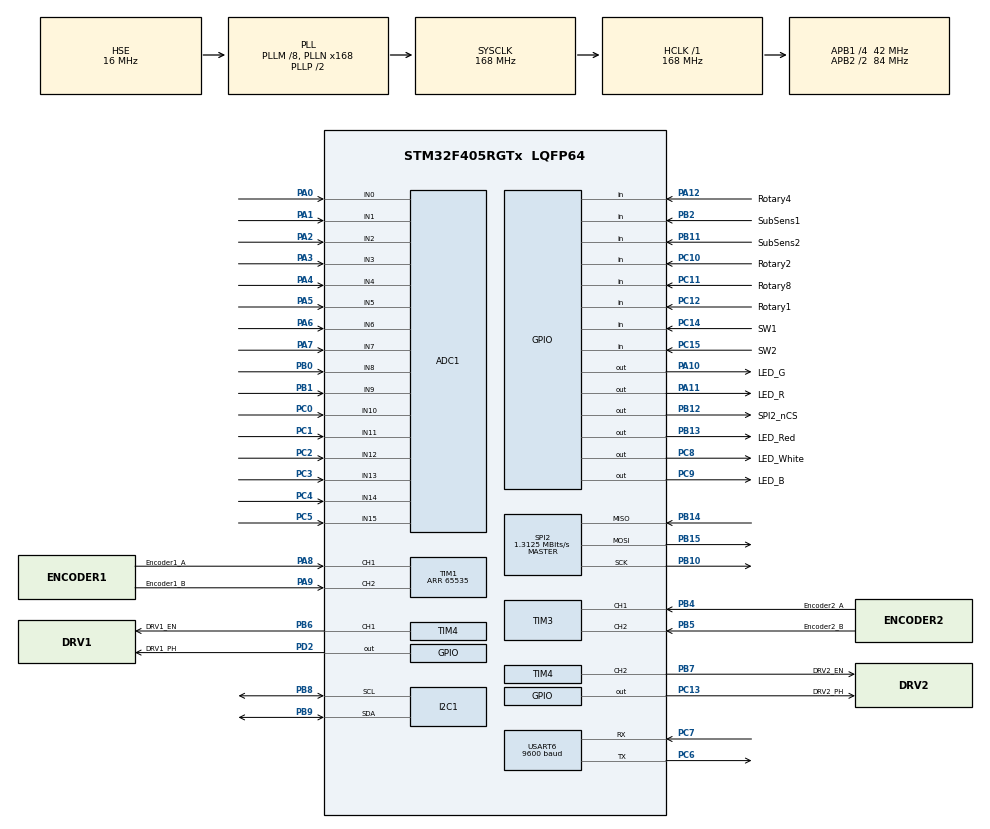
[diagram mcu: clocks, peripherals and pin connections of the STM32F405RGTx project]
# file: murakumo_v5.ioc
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ADC1.Channel-0\#ChannelRegularConversion=ADC_CHANNEL_9
ADC1.Channel-1\#ChannelRegularConversion=ADC_CHANNEL_10
ADC1.Channel-10\#ChannelRegularConversion=ADC_CHANNEL_6
ADC1.Channel-11\#ChannelRegularConversion=ADC_CHANNEL_1
ADC1.Channel-12\#ChannelRegularConversion=ADC_CHANNEL_5
ADC1.Channel-13\#ChannelRegularConversion=ADC_CHANNEL_2
ADC1.Channel-14\#ChannelRegularConversion=ADC_CHANNEL_4
ADC1.Channel-15\#ChannelRegularConversion=ADC_CHANNEL_3
ADC1.Channel-2\#ChannelRegularConversion=ADC_CHANNEL_8
ADC1.Channel-3\#ChannelRegularConversion=ADC_CHANNEL_11
ADC1.Channel-4\#ChannelRegularConversion=ADC_CHANNEL_15
ADC1.Channel-5\#ChannelRegularConversion=ADC_CHANNEL_12
ADC1.Channel-6\#ChannelRegularConversion=ADC_CHANNEL_14
ADC1.Channel-7\#ChannelRegularConversion=ADC_CHANNEL_13
ADC1.Channel-8\#ChannelRegularConversion=ADC_CHANNEL_7
ADC1.Channel-9\#ChannelRegularConversion=ADC_CHANNEL_0
ADC1.ContinuousConvMode=ENABLE
ADC1.DMAContinuousRequests=ENABLE
ADC1.InjNumberOfConversion=0
ADC1.NbrOfConversion=16
ADC1.NbrOfConversionFlag=1
ADC1.Rank-0\#ChannelRegularConversion=1
ADC1.Rank-1\#ChannelRegularConversion=2
ADC1.Rank-10\#ChannelRegularConversion=11
ADC1.Rank-11\#ChannelRegularConversion=12
ADC1.Rank-12\#ChannelRegularConversion=13
ADC1.Rank-13\#ChannelRegularConversion=14
ADC1.Rank-14\#ChannelRegularConversion=15
ADC1.Rank-15\#ChannelRegularConversion=16
ADC1.Rank-2\#ChannelRegularConversion=3
ADC1.Rank-3\#ChannelRegularConversion=4
ADC1.Rank-4\#ChannelRegularConversion=5
ADC1.Rank-5\#ChannelRegularConversion=6
ADC1.Rank-6\#ChannelRegularConversion=7
ADC1.Rank-7\#ChannelRegularConversion=8
ADC1.Rank-8\#ChannelRegularConversion=9
ADC1.Rank-9\#ChannelRegularConversion=10
ADC1.SamplingTime-0\#ChannelRegularConversion=ADC_SAMPLETIME_56CYCLES
ADC1.SamplingTime-1\#ChannelRegularConversion=ADC_SAMPLETIME_56CYCLES
ADC1.SamplingTime-10\#ChannelRegularConversion=ADC_SAMPLETIME_56CYCLES
ADC1.SamplingTime-11\#ChannelRegularConversion=ADC_SAMPLETIME_56CYCLES
ADC1.SamplingTime-12\#ChannelRegularConversion=ADC_SAMPLETIME_56CYCLES
ADC1.SamplingTime-13\#ChannelRegularConversion=ADC_SAMPLETIME_56CYCLES
ADC1.SamplingTime-14\#ChannelRegularConversion=ADC_SAMPLETIME_56CYCLES
ADC1.SamplingTime-15\#ChannelRegularConversion=ADC_SAMPLETIME_56CYCLES
ADC1.SamplingTime-2\#ChannelRegularConversion=ADC_SAMPLETIME_56CYCLES
ADC1.SamplingTime-3\#ChannelRegularConversion=ADC_SAMPLETIME_56CYCLES
ADC1.SamplingTime-4\#ChannelRegularConversion=ADC_SAMPLETIME_56CYCLES
ADC1.SamplingTime-5\#ChannelRegularConversion=ADC_SAMPLETIME_56CYCLES
ADC1.SamplingTime-6\#ChannelRegularConversion=ADC_SAMPLETIME_56CYCLES
ADC1.SamplingTime-7\#ChannelRegularConversion=ADC_SAMPLETIME_56CYCLES
ADC1.SamplingTime-8\#ChannelRegularConversion=ADC_SAMPLETIME_56CYCLES
ADC1.SamplingTime-9\#ChannelRegularConversion=ADC_SAMPLETIME_56CYCLES
ADC1.ScanConvMode=ENABLE
ADC1.master=1
Dma.ADC1.0.Direction=DMA_PERIPH_TO_MEMORY
Dma.ADC1.0.FIFOMode=DMA_FIFOMODE_DISABLE
Dma.ADC1.0.Instance=DMA2_Stream0
Dma.ADC1.0.MemDataAlignment=DMA_MDATAALIGN_HALFWORD
Dma.ADC1.0.MemInc=DMA_MINC_ENABLE
Dma.ADC1.0.Mode=DMA_CIRCULAR
Dma.ADC1.0.PeriphDataAlignment=DMA_PDATAALIGN_HALFWORD
Dma.ADC1.0.PeriphInc=DMA_PINC_DISABLE
Dma.ADC1.0.Priority=DMA_PRIORITY_LOW
Dma.Request0=ADC1
I2C1.NoStretchMode=I2C_NOSTRETCH_ENABLE
Mcu.Family=STM32F4
Mcu.Name=STM32F405RGTx
Mcu.Package=LQFP64
NVIC.DMA2_Stream0_IRQn=true\:0\:0\:true\:false\:true\:false\:true
NVIC.PriorityGroup=NVIC_PRIORITYGROUP_4
NVIC.TIM1_TRG_COM_TIM11_IRQn=true\:0\:0\:true\:false\:true\:true\:true
NVIC.TIM1_UP_TIM10_IRQn=true\:0\:0\:true\:false\:true\:true\:true
NVIC.TIM6_DAC_IRQn=true\:0\:0\:true\:false\:true\:true\:true
PA0-WKUP.Signal=ADCx_IN0
PA1.Signal=ADCx_IN1
PA10.GPIO_Label=LED_G
PA10.Signal=GPIO_Output
PA11.GPIO_Label=LED_R
PA11.Signal=GPIO_Output
PA12.GPIO_Label=Rotary4
PA12.Signal=GPIO_Input
PA13.Mode=Trace_Asynchronous_SW
PA13.Signal=SYS_JTMS-SWDIO
PA14.Mode=Trace_Asynchronous_SW
PA14.Signal=SYS_JTCK-SWCLK
PA15.Signal=S_TIM2_CH1_ETR
PA2.Signal=ADCx_IN2
PA3.Signal=ADCx_IN3
PA4.Signal=ADCx_IN4
PA5.Signal=ADCx_IN5
PA6.Signal=ADCx_IN6
PA7.Signal=ADCx_IN7
PA8.GPIO_Label=Encoder1_A
PA8.Signal=S_TIM1_CH1
PA9.GPIO_Label=Encoder1_B
PA9.Signal=S_TIM1_CH2
PB0.Signal=ADCx_IN8
PB1.Signal=ADCx_IN9
PB10.Mode=Full_Duplex_Master
PB10.Signal=SPI2_SCK
PB11.GPIO_Label=SubSens2
PB11.Signal=GPIO_Input
PB12.GPIO_Label=SPI2_nCS
PB12.Signal=GPIO_Output
PB13.GPIO_Label=LED_Red
PB13.Signal=GPIO_Output
PB14.Mode=Full_Duplex_Master
PB14.Signal=SPI2_MISO
PB15.Mode=Full_Duplex_Master
PB15.Signal=SPI2_MOSI
PB2.GPIO_Label=SubSens1
PB2.Signal=GPIO_Input
PB3.Mode=Trace_Asynchronous_SW
PB3.Signal=SYS_JTDO-SWO
PB4.GPIO_Label=Encoder2_A
PB4.Signal=S_TIM3_CH1
PB5.GPIO_Label=Encoder2_B
PB5.Signal=S_TIM3_CH2
PB6.GPIO_Label=DRV1_EN
PB6.Signal=S_TIM4_CH1
PB7.GPIO_Label=DRV2_EN
PB7.Signal=S_TIM4_CH2
PB8.Mode=I2C
PB8.Signal=I2C1_SCL
PB9.Mode=I2C
PB9.Signal=I2C1_SDA
PC0.Signal=ADCx_IN10
PC1.Signal=ADCx_IN11
PC10.GPIO_Label=Rotary2
PC10.Signal=GPIO_Input
PC11.GPIO_Label=Rotary8
PC11.Signal=GPIO_Input
PC12.GPIO_Label=Rotary1
PC12.Signal=GPIO_Input
PC13-ANTI_TAMP.GPIO_Label=DRV2_PH
PC13-ANTI_TAMP.Signal=GPIO_Output
PC14-OSC32_IN.GPIO_Label=SW1
PC14-OSC32_IN.Signal=GPIO_Input
PC15-OSC32_OUT.GPIO_Label=SW2
PC15-OSC32_OUT.Signal=GPIO_Input
PC2.Signal=ADCx_IN12
PC3.Signal=ADCx_IN13
PC4.Signal=ADCx_IN14
PC5.Signal=ADCx_IN15
PC6.Mode=Asynchronous
PC6.Signal=USART6_TX
PC7.Mode=Asynchronous
PC7.Signal=USART6_RX
PC8.GPIO_Label=LED_White
PC8.Signal=GPIO_Output
PC9.GPIO_Label=LED_B
PC9.Signal=GPIO_Output
PD2.GPIO_Label=DRV1_PH
PD2.Signal=GPIO_Output
PH0-OSC_IN.Mode=HSE-External-Clock-Source
PH0-OSC_IN.Signal=RCC_OSC_IN
PH1-OSC_OUT.Mode=HSE-External-Clock-Source
PH1-OSC_OUT.Signal=RCC_OSC_OUT
ProjectManager.HeapSize=0x200
ProjectManager.StackSize=0x400
ProjectManager.TargetToolchain=STM32CubeIDE
RCC.48MHZClocksFreq_Value=84000000
RCC.AHBFreq_Value=168000000
RCC.APB1CLKDivider=RCC_HCLK_DIV4
RCC.APB1Freq_Value=42000000
RCC.APB1TimFreq_Value=84000000
RCC.APB2CLKDivider=RCC_HCLK_DIV2
RCC.APB2Freq_Value=84000000
RCC.APB2TimFreq_Value=168000000
RCC.CortexFreq_Value=168000000
RCC.HCLKFreq_Value=168000000
RCC.HSE_VALUE=16000000
RCC.HSI_VALUE=16000000
RCC.LSE_VALUE=32768
RCC.PLLM=8
RCC.PLLN=168
RCC.PLLSourceVirtual=RCC_PLLSOURCE_HSE
RCC.SYSCLKFreq_VALUE=168000000
RCC.SYSCLKSource=RCC_SYSCLKSOURCE_PLLCLK
RCC.VCOOutputFreq_Value=336000000
SH.ADCx_IN0.0=ADC1_IN0,IN0
SH.ADCx_IN1.0=ADC1_IN1,IN1
SH.ADCx_IN10.0=ADC1_IN10,IN10
SH.ADCx_IN11.0=ADC1_IN11,IN11
SH.ADCx_IN12.0=ADC1_IN12,IN12
SH.ADCx_IN13.0=ADC1_IN13,IN13
SH.ADCx_IN14.0=ADC1_IN14,IN14
SH.ADCx_IN15.0=ADC1_IN15,IN15
SH.ADCx_IN2.0=ADC1_IN2,IN2
SH.ADCx_IN3.0=ADC1_IN3,IN3
SH.ADCx_IN4.0=ADC1_IN4,IN4
SH.ADCx_IN5.0=ADC1_IN5,IN5
SH.ADCx_IN6.0=ADC1_IN6,IN6
SH.ADCx_IN7.0=ADC1_IN7,IN7
SH.ADCx_IN8.0=ADC1_IN8,IN8
SH.ADCx_IN9.0=ADC1_IN9,IN9
SH.S_TIM1_CH1.0=TIM1_CH1,Encoder_Interface
SH.S_TIM1_CH2.0=TIM1_CH2,Encoder_Interface
SH.S_TIM2_CH1_ETR.0=TIM2_CH1
SH.S_TIM3_CH1.0=TIM3_CH1,Encoder_Interface
SH.S_TIM3_CH2.0=TIM3_CH2,Encoder_Interface
SH.S_TIM4_CH1.0=TIM4_CH1,PWM Generation1 CH1
SH.S_TIM4_CH2.0=TIM4_CH2,PWM Generation2 CH2
SPI2.BaudRatePrescaler=SPI_BAUDRATEPRESCALER_32
SPI2.CLKPhase=SPI_PHASE_2EDGE
SPI2.CLKPolarity=SPI_POLARITY_HIGH
SPI2.CalculateBaudRate=1.3125 MBits/s
SPI2.DataSize=SPI_DATASIZE_8BIT
SPI2.Direction=SPI_DIRECTION_2LINES
SPI2.Mode=SPI_MODE_MASTER
SPI2.VirtualType=VM_MASTER
TIM1.EncoderMode=TIM_ENCODERMODE_TI12
TIM1.Period=65535
TIM10.Period=33599
TIM10.Prescaler=4
TIM11.Period=33599
TIM11.Prescaler=4
TIM3.EncoderMode=TIM_ENCODERMODE_TI12
TIM4.Channel-PWM\ Generation1\ CH1=TIM_CHANNEL_1
TIM4.Channel-PWM\ Generation2\ CH2=TIM_CHANNEL_2
TIM4.Period=999
TIM4.Prescaler=2
TIM6.Period=16799
TIM6.Prescaler=4
USART6.BaudRate=9600
USART6.VirtualMode=VM_ASYNC
VP_TIM10_VS_ClockSourceINT.Mode=Enable_Timer
VP_TIM11_VS_ClockSourceINT.Mode=Enable_Timer
VP_TIM6_VS_ClockSourceINT.Mode=Enable_Timer
board=custom

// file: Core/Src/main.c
/* USER CODE BEGIN Header */
/**
 ******************************************************************************
 * @file           : main.c
 * @brief          : Main program body
 ******************************************************************************
 * @attention
 *
 * <h2><center>&copy; Copyright (c) 2022 STMicroelectronics.
 * All rights reserved.</center></h2>
 *
 * This software component is licensed by ST under BSD 3-Clause license,
 * the "License"; You may not use this file except in compliance with the
 * License. You may obtain a copy of the License at:
 *                        opensource.org/licenses/BSD-3-Clause
 *
 *
 * MURAKUMO SPECIAL EN KAI GEI !!!!!
 *
 ******************************************************************************
 */
/* USER CODE END Header */
#include "main.h"

/* USER CODE BEGIN Includes */
#include "stdio.h"
#include <string.h>
#include <stdint.h>
// #include "math.h"
#include "ICM20648.h"

/* USER CODE END Includes */

/* USER CODE BEGIN PD */
#ifdef __GNUC__
#define PUTCHAR_PROTOTYPE int __io_putchar(int ch)
#else
#define PUTCHAR_PROTOTYPE int fputc(int ch, FILE *f)
#endif

#define PLAY 1

#define D_ANALOG 0
#define D_ANALOGRATE 0
#define D_MOTOR 0
#define D_SIDESENS 0	//
#define D_ENCODER 0	// Debug Encoder
#define D_PWM 0
#define D_ROTARY 0
#define D_SWITCH 0
#define D_IMU 1
#define D_LED 0
#define D_VELOCITY_CONTROL_TIMER 0

#define USE_ANALOG 0
#define USE_MOTOR 0
#define USE_SIDESENSOR 0	// Use SideSensor
#define USE_ENCODER 0
#define USE_ROTARY 1
#define USE_SWITCH 1
#define USE_LED 1
#define USE_FLASH 0
#define USE_IMU 1
#define USE_BUZZER 0
#define USE_VELOCITY_CONTROL 0

#define ATTACH_LONGSENSOR 0	// use normal sensor and long sensor
#define USE_LONGSENSOR 0	// only use long sensor

#define SECOND 1

/* USER CODE END PD */

/* USER CODE BEGIN PM */
#if USE_FLASH
#define BACKUP_FLASH_SECTOR_NUM FLASH_SECTOR_11
#define BACKUP_FLASH_SECTOR_SIZE (1024*16)
#define ENC_SIZE 128
#endif

#define ADC_CONVERTED_DATA_BUFFER_SIZE 16	// ADC Channel Count
#define SENSGETCOUNT 9

#define ENCODER_MIDDLE (65536/2)

#ifndef _ARM_MATH_H
#define PI 3.14159265358979f
#endif	// __MAIN_H
#define TIREDIAMETER 21000		// um
#define PULSEPERROTATE (5250*2)	// Pulse / Rotate
// LENGTHPUEPULSE = PI * TIREDIAMETER / PULSEPERROTATE

#define COMMONSPEED1 0	// 700 // 570
#define KP1 6.4f	// 30 // 25
#define KD1 13.75f	// 8  // 10
#define KI1 0	// 0.0005f
#define COMMONSPEED2 100	// 700 // 570
#define KP2 5	// 30 // 25
#define KD2 2	// 8  // 10
#define KI2 0
#define COMMONSPEED3 100	// 700 // 570
#define KP3 3	// 30 // 25
#define KD3 1	// 8  // 10
#define KI3 0

#define PWMMAX 1000 // 3360

#if D_PWM
#define STATICPWM 1
#endif

#define D_VELOCITY_CONTROL_IN_WHILE 0
#define VELOCITY_CONTROL_RELATIVE 1

#if USE_VELOCITY_CONTROL
#define VELOCITY_TARGET 750	//65.973f 	// MAX 35579 // mm/s
#define VELOCITY_MAX 35579
#if VELOCITY_CONTROL_RELATIVE
#define VKP 20	// 27.5f
#define VKI 0.2f	// 0.15f
#else	// VELOCITY_CONTRO_RELATIVE
// left
#define VKPL 8.0f
#define VKIL 0.025	// 0.025f
// right
#define VKPR 8.0f
#define VKIR 0.025	// 0.025f
#endif	// VELOCITY_CONTROL_RELATIVE
#if D_VELOCITY_CONTROL_TIMER
#define STOPTIME 10000 // 13188
#endif
#endif

#define ESC_MAG	"\x1b[35m"
#define ESC_RED "\x1b[31m"
#define ESC_YEL	"\x1b[33m"
#define ESC_GRE	"\x1b[32m"
#define ESC_CYA	"\x1b[36m"
#define ESC_BLU	"\x1b[34m"
#define ESC_DEF "\x1b[39m"

/* USER CODE END PM */

ADC_HandleTypeDef hadc1;
DMA_HandleTypeDef hdma_adc1;

I2C_HandleTypeDef hi2c1;

SPI_HandleTypeDef hspi2;

TIM_HandleTypeDef htim1;
TIM_HandleTypeDef htim3;
TIM_HandleTypeDef htim4;
TIM_HandleTypeDef htim6;
TIM_HandleTypeDef htim10;
TIM_HandleTypeDef htim11;

UART_HandleTypeDef huart6;

/* USER CODE BEGIN PV */
#if USE_FLASH
typedef struct {
	uint8_t svl[ENC_SIZE];
	uint8_t svr[ENC_SIZE];
	uint32_t common_speed2[ENC_SIZE];
	uint32_t common_speed3[ENC_SIZE];
//	uint16_t second[ENC_SIZE];
	Inertial inertial[ENC_SIZE];
	uint16_t analogmin[CALIBRATIONSIZE];
	uint16_t analogmin[CALIBRATIONSIZE];
} FlashBuffer;
#endif

// analog
uint16_t analograw[ADC_CONVERTED_DATA_BUFFER_SIZE];	// Analog Data

#if ATTACH_LONGSENSOR	// use normal sensor and long sensor
#define CALIBRATIONSIZE 16
#else
#if USE_LONGSENSOR	// only use long sensor
#define CALIBRATIONSIZE 4
#else
#define CALIBRATIONSIZE 12
#endif
#endif

uint16_t analog[CALIBRATIONSIZE];
uint16_t analogmax[CALIBRATIONSIZE];
uint16_t analogmin[CALIBRATIONSIZE];
uint16_t analogbuffers[SENSGETCOUNT][CALIBRATIONSIZE];

uint16_t analograte[CALIBRATIONSIZE];
uint16_t analogr, analogl;	// Sum Right Analog Sensor, Sum Left Analog Sensor
int direction, beforedirection, sdirection;	// = analogr - analogl
unsigned char sensgettime;
uint8_t calibrationsize;

double kp, kd, ki;

unsigned char subsensbuf, marker, sidedeltacount, markerstate, rightmarkercount;// 0 ~ 255(2^8-1)
short int encoder_l, encoder_r;
double LENGTHPERPULSE;	// (um / pulse)

#if SECOND
// uint8_t velocity[COURSELENGTH * 1000];
#endif

#if USE_FLASH
const uint32_t start_address = 0x080E0000;
const uint32_t end_address = 0x080FFFFF;
FlashBuffer flash_buffer;
uint8_t course_state_time;
#endif

#if D_PWM
#define PWM_STEP_AMPLITUDE 1000		// (288 + 1024 * 3) // PWM Pulse Amplitude
#define PWM_STEP_OMEGA 100	// PWM Step Omega (unit mrad / s)
uint32_t pwmstepoutput;	// PWM Duty
uint32_t pwmsteptime;	// PWM Step Time
char pwmstepud;	// PWM Step upword or downword
#endif

#if D_ENCODER
uint16_t d_encoder_left, dd_encoder_left, pre_d_encoder_left, d_encoder_right,
		dd_encoder_right, pre_d_encoder_right;
uint16_t enc1, enc2, enc3;
#endif

#if USE_VELOCITY_CONTROL
double velocity_l, velocity_l_raw;
double velocity_r, velocity_r_raw;
#if VELOCITY_CONTROL_RELATIVE
double velocity, velocity_error, s_velocity_error, velocity_next, velocity_raw;
double nextspeed;
#else	// VELOCITY_CONTROL_RELATIVE
		double velocity_error_l, s_velocity_error_l, velocity_next_l, nextspeed_l;
		double velocity_error_r, s_velocity_error_r, velocity_next_r, nextspeed_r;
	#endif	// VELOCITY_CONTROL_RELATIVE
#if D_VELOCITY_CONTROL_TIMER
		uint16_t stoptime;
	#endif
#endif

// motor
short int commonspeed;
double leftmotor;
double rightmotor;

// switch
uint8_t rotary_value;
char enter;
uint16_t timtim;

// flag
uint8_t motorenable;

/* USER CODE END PV */

void SystemClock_Config(void);
static void MX_GPIO_Init(void);
static void MX_DMA_Init(void);
static void MX_ADC1_Init(void);
static void MX_USART6_UART_Init(void);
static void MX_TIM6_Init(void);
static void MX_TIM4_Init(void);
static void MX_TIM1_Init(void);
static void MX_TIM3_Init(void);
static void MX_TIM10_Init(void);
static void MX_TIM11_Init(void);
static void MX_SPI2_Init(void);
static void MX_I2C1_Init(void);
/* USER CODE BEGIN PFP */

PUTCHAR_PROTOTYPE;
#if USE_LED
void led_rgb(char r, char g, char b);
void set_led(char);
#endif
void running_initialize();
void running_finalize();
void sensor_initialize();
void sensor_finalize();
void HAL_ADC_ConvCpltCallback(ADC_HandleTypeDef *AdcHandle);
#ifndef _ARM_MATH_H
double power(double, double);
#endif
#if USE_ENCODER
void encoder_initialize();
void encoder_finalize();
#endif
#if USE_FLASH
void eraseFlash(void);
void writeFlash(uint32_t, uint8_t*, uint32_t);
void loadFlash(uint32_t, uint8_t*, uint32_t);
#endif
void d_print();
#if USE_IMU
void IMU_printf(Inertial*);
void IMU_raw_printf();
#endif
double low_pass_filter(double val, double pre_val, double gamma);

void HAL_TIM_PeriodElapsedCallback(TIM_HandleTypeDef *htim) {
	if (htim->Instance == TIM6) {
#if D_VELOCITY_CONTROL_TIMER && USE_VELOCITY_CONTROL
		if(stoptime < STOPTIME)
		{
			stoptime++;
		}
		else
		{
			motorenable = 0;
		}
#endif // D_VELOCITY_CONTROL_TIMER && USE_VELOCITY_CONTROL

		if (motorenable)
		{
		} else	// if(motorenable)
		{
			leftmotor = 0;
			rightmotor = 0;
		}
#if USE_MOTOR

		if (leftmotor < 0) {
			HAL_GPIO_WritePin(GPIOD, GPIO_PIN_2, GPIO_PIN_RESET);
			leftmotor = leftmotor * -1;
		} else {
			HAL_GPIO_WritePin(GPIOD, GPIO_PIN_2, GPIO_PIN_SET);
		}

		if (rightmotor < 0) {
			HAL_GPIO_WritePin(GPIOC, GPIO_PIN_13, GPIO_PIN_SET);
			rightmotor = rightmotor * -1;
		} else {
			HAL_GPIO_WritePin(GPIOC, GPIO_PIN_13, GPIO_PIN_RESET);
		}

		leftmotor = leftmotor > PWMMAX ? PWMMAX : leftmotor;
		rightmotor = rightmotor > PWMMAX ? PWMMAX : rightmotor;
#endif
	}	// TIM6
	if (htim->Instance == TIM10)	// TIM10 // 1ms
	{
#if USE_IMU
#endif
#if USE_ENCODER
		// 1ms
		encoder_l = TIM1->CNT - ENCODER_MIDDLE;
		encoder_r = -(TIM3->CNT - ENCODER_MIDDLE);

		TIM1->CNT = ENCODER_MIDDLE;
		TIM3->CNT = ENCODER_MIDDLE;
#endif	// USE_ENCODER
#if USE_LED
		if(timtim % 1000 == 0)
		{
			set_led(0b10);
		}
		if(timtim % 1000 == 500)
		{
			set_led(0b00);
		}
		timtim = timtim + 1;
		if(timtim >= 60000)
		{
			timtim = 0;
		}
#endif
	}	// TIM10

	if (htim->Instance == TIM11)	// TIM11 // 1ms
	{
		uint8_t rotary_value_row;
		rotary_value_row = (!HAL_GPIO_ReadPin(GPIOC, GPIO_PIN_12)) ? 1 : 0;
		rotary_value_row += (!HAL_GPIO_ReadPin(GPIOC, GPIO_PIN_10)) ? 2 : 0;
		rotary_value_row += (!HAL_GPIO_ReadPin(GPIOA, GPIO_PIN_12)) ? 4 : 0;
		rotary_value_row += (!HAL_GPIO_ReadPin(GPIOC, GPIO_PIN_11)) ? 8 : 0;
		rotary_value = rotary_value_row;

#if USE_BUZZER
		__HAL_TIM_SET_COMPARE(&htim2, TIM_CHANNEL_1, 1406 * rotary_value_row / 16);
#endif

		if (!HAL_GPIO_ReadPin(GPIOC, GPIO_PIN_14)
				&& HAL_GPIO_ReadPin(GPIOC, GPIO_PIN_15)) {
			enter = 1;
		}
		if (HAL_GPIO_ReadPin(GPIOC, GPIO_PIN_14)
				&& !HAL_GPIO_ReadPin(GPIOC, GPIO_PIN_15)) {
			enter = 0;
		}
	}

	/*
	 if (htim->Instance == TIM13)	// TIM13 // 1ms
	 {
	 }

	 if (htim->Instance == TIM7)	// F // 0.1ms
	 {
	 }
	 */
}

/* USER CODE END PFP */

int main(void)
{

  /* MCU Configuration--------------------------------------------------------*/

  /* Reset of all peripherals, Initializes the Flash interface and the Systick. */
  HAL_Init();

  /* USER CODE BEGIN Init */
#if USE_FLASH
	FlashBuffer readrom;
#endif

	enter = 0;
	motorenable = 0;
	rotary_value = 0;
	LENGTHPERPULSE = PI * TIREDIAMETER / PULSEPERROTATE;
	commonspeed = 0;
#if D_PWM
	pwmsteptime = 0;
	pwmstepud = 1;
#endif

	for (unsigned char i = 0; CALIBRATIONSIZE > i; i++) {
		analogmax[i] = 0;
		analogmin[i] = 4096;
	}

  /* USER CODE END Init */

  /* Configure the system clock */
  SystemClock_Config();

  /* Initialize all configured peripherals */
  MX_GPIO_Init();
  MX_DMA_Init();
  MX_ADC1_Init();
  MX_USART6_UART_Init();
  MX_TIM6_Init();
  MX_TIM4_Init();
  MX_TIM1_Init();
  MX_TIM3_Init();
  MX_TIM10_Init();
  MX_TIM11_Init();
  MX_SPI2_Init();
  MX_I2C1_Init();
  /* USER CODE BEGIN 2 */
	printf(ESC_DEF);
	printf("\r\n\r\n\r\nStarting Program...\r\n\r\n");

	printf("Starting Analog Read\r\n");
	if (HAL_ADC_Init(&hadc1) != HAL_OK) {
		Error_Handler();
	}

	printf("Starting TIM11\r\n");
	HAL_TIM_Base_Start_IT(&htim11);	// 1ms	// ROTARY SWITCH

#if USE_BUZZER
	printf("Starting TIM2 (Buzzer)\r\n");
	if(HAL_TIM_PWM_Start(&htim2, TIM_CHANNEL_1) != HAL_OK)
	{
		Error_Handler();
	}
#endif

#if USE_IMU
	printf("Starting SPI2 (IMU)\r\n");
	uint8_t wai, ret;
	ret = IMU_init(&wai);
	printf("who_am_i = %d\r\n", wai);
	if (ret == 1) {
		printf("SPI INIT COLLECT!\r\n");
	} else {
		printf("SPI INIT FAILURE x_x \r\n");
	}
#if D_IMU
	printf("inertial offset\r\n");
	printf("ax = %4d, ay = %4d, az = %4d\r\n", inertial_offset.accel.x,
			inertial_offset.accel.y, inertial_offset.accel.z);
	printf("gx = %4d, gy = %4d, gz = %4d\r\n", inertial_offset.gyro.x,
			inertial_offset.gyro.y, inertial_offset.gyro.z);
#endif
#endif

#if D_ENCODER
	printf("LENGTHPERPULSE = %f\r\n", LENGTHPERPULSE);
#endif

  /* USER CODE END 2 */

  /* Infinite loop */
  /* USER CODE BEGIN WHILE */
	while (1) {
		printf("///// WHILE /////\n\r");
		printf("enter = %d\r\n", enter);
		printf("rotary_value = %x\r\n", rotary_value);
		if (enter) {
			switch (rotary_value) {
			case 0x0:
				break;	// case 0x00:
			case 0x1:
				running_initialize();

				while (enter) {
					d_print();
					HAL_Delay(250);
				}

				running_finalize();
				break;
			case 0x2:
				running_initialize();

				while (enter) {
					d_print();
					HAL_Delay(250);
				}

				running_finalize();
				break;
			case 0x3:
				running_initialize();

				while (enter) {
					d_print();
					HAL_Delay(250);
				}

				running_finalize();
				break;
			case 0xE:
				break;
			case 0xF:
				while (enter) {
					HAL_Delay(250);
				}
				break;
			case 0xD:
#if USE_IMU
#if D_IMU
				/*
				 // IMU TEST
				 IMU_set_offset();
				 printf("inertial offset\r\n");
				 printf("ax = %4d, ay = %4d, az = %4d\r\n", inertial_offset.accel.x, inertial_offset.accel.y, inertial_offset.accel.z);
				 printf("gx = %4d, gy = %4d, gz = %4d\r\n", inertial_offset.gyro.x, inertial_offset.gyro.y, inertial_offset.gyro.z);
				 while(enter)
				 {
				 printf("////////// IMU ///////////\r\n");
				 IMU_read();
				 printf("ax = %4d, ay = %4d, az = %4d\r\n", inertial.accel.x - inertial_offset.accel.x, inertial.accel.y - inertial_offset.accel.y, inertial.accel.z - inertial_offset.accel.z);
				 printf("gx = %4d, gy = %4d, gz = %4d\r\n", inertial.gyro.x - inertial_offset.gyro.x, inertial.gyro.y - inertial_offset.gyro.y, inertial.gyro.z - inertial_offset.gyro.z);
				 HAL_Delay(250);
				 }
				 */
				while (enter) {
					printf("////////// IMU ///////////\r\n");
					IMU_read();
					IMU_raw_printf();
					HAL_Delay(250);
				}
#endif // D_IMU
#endif
				break;
			} // switch(rotary_value)
		}	// if(enter)
	}	// while(1)
	HAL_Delay(250);
    /* USER CODE END WHILE */

}

void SystemClock_Config(void)
{
  RCC_OscInitTypeDef RCC_OscInitStruct = {0};
  RCC_ClkInitTypeDef RCC_ClkInitStruct = {0};

  /** Configure the main internal regulator output voltage
  */
  __HAL_RCC_PWR_CLK_ENABLE();
  __HAL_PWR_VOLTAGESCALING_CONFIG(PWR_REGULATOR_VOLTAGE_SCALE1);
  /** Initializes the RCC Oscillators according to the specified parameters
  * in the RCC_OscInitTypeDef structure.
  */
  RCC_OscInitStruct.OscillatorType = RCC_OSCILLATORTYPE_HSE;
  RCC_OscInitStruct.HSEState = RCC_HSE_BYPASS;
  RCC_OscInitStruct.PLL.PLLState = RCC_PLL_ON;
  RCC_OscInitStruct.PLL.PLLSource = RCC_PLLSOURCE_HSE;
  RCC_OscInitStruct.PLL.PLLM = 8;
  RCC_OscInitStruct.PLL.PLLN = 168;
  RCC_OscInitStruct.PLL.PLLP = RCC_PLLP_DIV2;
  RCC_OscInitStruct.PLL.PLLQ = 4;
  if (HAL_RCC_OscConfig(&RCC_OscInitStruct) != HAL_OK)
  {
    Error_Handler();
  }
  /** Initializes the CPU, AHB and APB buses clocks
  */
  RCC_ClkInitStruct.ClockType = RCC_CLOCKTYPE_HCLK|RCC_CLOCKTYPE_SYSCLK
                              |RCC_CLOCKTYPE_PCLK1|RCC_CLOCKTYPE_PCLK2;
  RCC_ClkInitStruct.SYSCLKSource = RCC_SYSCLKSOURCE_PLLCLK;
  RCC_ClkInitStruct.AHBCLKDivider = RCC_SYSCLK_DIV1;
  RCC_ClkInitStruct.APB1CLKDivider = RCC_HCLK_DIV4;
  RCC_ClkInitStruct.APB2CLKDivider = RCC_HCLK_DIV2;

  if (HAL_RCC_ClockConfig(&RCC_ClkInitStruct, FLASH_LATENCY_5) != HAL_OK)
  {
    Error_Handler();
  }
}

static void MX_ADC1_Init(void)
{

  ADC_ChannelConfTypeDef sConfig = {0};

  /** Configure the global features of the ADC (Clock, Resolution, Data Alignment and number of conversion)
  */
  hadc1.Instance = ADC1;
  hadc1.Init.ClockPrescaler = ADC_CLOCK_SYNC_PCLK_DIV4;
  hadc1.Init.Resolution = ADC_RESOLUTION_12B;
  hadc1.Init.ScanConvMode = ENABLE;
  hadc1.Init.ContinuousConvMode = ENABLE;
  hadc1.Init.DiscontinuousConvMode = DISABLE;
  hadc1.Init.ExternalTrigConvEdge = ADC_EXTERNALTRIGCONVEDGE_NONE;
  hadc1.Init.ExternalTrigConv = ADC_SOFTWARE_START;
  hadc1.Init.DataAlign = ADC_DATAALIGN_RIGHT;
  hadc1.Init.NbrOfConversion = 16;
  hadc1.Init.DMAContinuousRequests = ENABLE;
  hadc1.Init.EOCSelection = ADC_EOC_SINGLE_CONV;
  if (HAL_ADC_Init(&hadc1) != HAL_OK)
  {
    Error_Handler();
  }
  /** Configure for the selected ADC regular channel its corresponding rank in the sequencer and its sample time.
  */
  sConfig.Channel = ADC_CHANNEL_9;
  sConfig.Rank = 1;
  sConfig.SamplingTime = ADC_SAMPLETIME_56CYCLES;
  if (HAL_ADC_ConfigChannel(&hadc1, &sConfig) != HAL_OK)
  {
    Error_Handler();
  }
  /** Configure for the selected ADC regular channel its corresponding rank in the sequencer and its sample time.
  */
  sConfig.Channel = ADC_CHANNEL_10;
  sConfig.Rank = 2;
  if (HAL_ADC_ConfigChannel(&hadc1, &sConfig) != HAL_OK)
  {
    Error_Handler();
  }
  /** Configure for the selected ADC regular channel its corresponding rank in the sequencer and its sample time.
  */
  sConfig.Channel = ADC_CHANNEL_8;
  sConfig.Rank = 3;
  if (HAL_ADC_ConfigChannel(&hadc1, &sConfig) != HAL_OK)
  {
    Error_Handler();
  }
  /** Configure for the selected ADC regular channel its corresponding rank in the sequencer and its sample time.
  */
  sConfig.Channel = ADC_CHANNEL_11;
  sConfig.Rank = 4;
  if (HAL_ADC_ConfigChannel(&hadc1, &sConfig) != HAL_OK)
  {
    Error_Handler();
  }
  /** Configure for the selected ADC regular channel its corresponding rank in the sequencer and its sample time.
  */
  sConfig.Channel = ADC_CHANNEL_15;
  sConfig.Rank = 5;
  if (HAL_ADC_ConfigChannel(&hadc1, &sConfig) != HAL_OK)
  {
    Error_Handler();
  }
  /** Configure for the selected ADC regular channel its corresponding rank in the sequencer and its sample time.
  */
  sConfig.Channel = ADC_CHANNEL_12;
  sConfig.Rank = 6;
  if (HAL_ADC_ConfigChannel(&hadc1, &sConfig) != HAL_OK)
  {
    Error_Handler();
  }
  /** Configure for the selected ADC regular channel its corresponding rank in the sequencer and its sample time.
  */
  sConfig.Channel = ADC_CHANNEL_14;
  sConfig.Rank = 7;
  if (HAL_ADC_ConfigChannel(&hadc1, &sConfig) != HAL_OK)
  {
    Error_Handler();
  }
  /** Configure for the selected ADC regular channel its corresponding rank in the sequencer and its sample time.
  */
  sConfig.Channel = ADC_CHANNEL_13;
  sConfig.Rank = 8;
  if (HAL_ADC_ConfigChannel(&hadc1, &sConfig) != HAL_OK)
  {
    Error_Handler();
  }
  /** Configure for the selected ADC regular channel its corresponding rank in the sequencer and its sample time.
  */
  sConfig.Channel = ADC_CHANNEL_7;
  sConfig.Rank = 9;
  if (HAL_ADC_ConfigChannel(&hadc1, &sConfig) != HAL_OK)
  {
    Error_Handler();
  }
  /** Configure for the selected ADC regular channel its corresponding rank in the sequencer and its sample time.
  */
  sConfig.Channel = ADC_CHANNEL_0;
  sConfig.Rank = 10;
  if (HAL_ADC_ConfigChannel(&hadc1, &sConfig) != HAL_OK)
  {
    Error_Handler();
  }
  /** Configure for the selected ADC regular channel its corresponding rank in the sequencer and its sample time.
  */
  sConfig.Channel = ADC_CHANNEL_6;
  sConfig.Rank = 11;
  if (HAL_ADC_ConfigChannel(&hadc1, &sConfig) != HAL_OK)
  {
    Error_Handler();
  }
  /** Configure for the selected ADC regular channel its corresponding rank in the sequencer and its sample time.
  */
  sConfig.Channel = ADC_CHANNEL_1;
  sConfig.Rank = 12;
  if (HAL_ADC_ConfigChannel(&hadc1, &sConfig) != HAL_OK)
  {
    Error_Handler();
  }
  /** Configure for the selected ADC regular channel its corresponding rank in the sequencer and its sample time.
  */
  sConfig.Channel = ADC_CHANNEL_5;
  sConfig.Rank = 13;
  if (HAL_ADC_ConfigChannel(&hadc1, &sConfig) != HAL_OK)
  {
    Error_Handler();
  }
  /** Configure for the selected ADC regular channel its corresponding rank in the sequencer and its sample time.
  */
  sConfig.Channel = ADC_CHANNEL_2;
  sConfig.Rank = 14;
  if (HAL_ADC_ConfigChannel(&hadc1, &sConfig) != HAL_OK)
  {
    Error_Handler();
  }
  /** Configure for the selected ADC regular channel its corresponding rank in the sequencer and its sample time.
  */
  sConfig.Channel = ADC_CHANNEL_4;
  sConfig.Rank = 15;
  if (HAL_ADC_ConfigChannel(&hadc1, &sConfig) != HAL_OK)
  {
    Error_Handler();
  }
  /** Configure for the selected ADC regular channel its corresponding rank in the sequencer and its sample time.
  */
  sConfig.Channel = ADC_CHANNEL_3;
  sConfig.Rank = 16;
  if (HAL_ADC_ConfigChannel(&hadc1, &sConfig) != HAL_OK)
  {
    Error_Handler();
  }

}

static void MX_I2C1_Init(void)
{

  hi2c1.Instance = I2C1;
  hi2c1.Init.ClockSpeed = 100000;
  hi2c1.Init.DutyCycle = I2C_DUTYCYCLE_2;
  hi2c1.Init.OwnAddress1 = 0;
  hi2c1.Init.AddressingMode = I2C_ADDRESSINGMODE_7BIT;
  hi2c1.Init.DualAddressMode = I2C_DUALADDRESS_DISABLE;
  hi2c1.Init.OwnAddress2 = 0;
  hi2c1.Init.GeneralCallMode = I2C_GENERALCALL_DISABLE;
  hi2c1.Init.NoStretchMode = I2C_NOSTRETCH_ENABLE;
  if (HAL_I2C_Init(&hi2c1) != HAL_OK)
  {
    Error_Handler();
  }

}

static void MX_SPI2_Init(void)
{

  /* SPI2 parameter configuration*/
  hspi2.Instance = SPI2;
  hspi2.Init.Mode = SPI_MODE_MASTER;
  hspi2.Init.Direction = SPI_DIRECTION_2LINES;
  hspi2.Init.DataSize = SPI_DATASIZE_8BIT;
  hspi2.Init.CLKPolarity = SPI_POLARITY_HIGH;
  hspi2.Init.CLKPhase = SPI_PHASE_2EDGE;
  hspi2.Init.NSS = SPI_NSS_SOFT;
  hspi2.Init.BaudRatePrescaler = SPI_BAUDRATEPRESCALER_32;
  hspi2.Init.FirstBit = SPI_FIRSTBIT_MSB;
  hspi2.Init.TIMode = SPI_TIMODE_DISABLE;
  hspi2.Init.CRCCalculation = SPI_CRCCALCULATION_DISABLE;
  hspi2.Init.CRCPolynomial = 10;
  if (HAL_SPI_Init(&hspi2) != HAL_OK)
  {
    Error_Handler();
  }

}

static void MX_TIM1_Init(void)
{

  TIM_Encoder_InitTypeDef sConfig = {0};
  TIM_MasterConfigTypeDef sMasterConfig = {0};

  htim1.Instance = TIM1;
  htim1.Init.Prescaler = 0;
  htim1.Init.CounterMode = TIM_COUNTERMODE_UP;
  htim1.Init.Period = 65535;
  htim1.Init.ClockDivision = TIM_CLOCKDIVISION_DIV1;
  htim1.Init.RepetitionCounter = 0;
  htim1.Init.AutoReloadPreload = TIM_AUTORELOAD_PRELOAD_DISABLE;
  sConfig.EncoderMode = TIM_ENCODERMODE_TI12;
  sConfig.IC1Polarity = TIM_ICPOLARITY_RISING;
  sConfig.IC1Selection = TIM_ICSELECTION_DIRECTTI;
  sConfig.IC1Prescaler = TIM_ICPSC_DIV1;
  sConfig.IC1Filter = 0;
  sConfig.IC2Polarity = TIM_ICPOLARITY_RISING;
  sConfig.IC2Selection = TIM_ICSELECTION_DIRECTTI;
  sConfig.IC2Prescaler = TIM_ICPSC_DIV1;
  sConfig.IC2Filter = 0;
  if (HAL_TIM_Encoder_Init(&htim1, &sConfig) != HAL_OK)
  {
    Error_Handler();
  }
  sMasterConfig.MasterOutputTrigger = TIM_TRGO_RESET;
  sMasterConfig.MasterSlaveMode = TIM_MASTERSLAVEMODE_DISABLE;
  if (HAL_TIMEx_MasterConfigSynchronization(&htim1, &sMasterConfig) != HAL_OK)
  {
    Error_Handler();
  }

}

static void MX_TIM3_Init(void)
{

  TIM_Encoder_InitTypeDef sConfig = {0};
  TIM_MasterConfigTypeDef sMasterConfig = {0};

  htim3.Instance = TIM3;
  htim3.Init.Prescaler = 0;
  htim3.Init.CounterMode = TIM_COUNTERMODE_UP;
  htim3.Init.Period = 65535;
  htim3.Init.ClockDivision = TIM_CLOCKDIVISION_DIV1;
  htim3.Init.AutoReloadPreload = TIM_AUTORELOAD_PRELOAD_DISABLE;
  sConfig.EncoderMode = TIM_ENCODERMODE_TI12;
  sConfig.IC1Polarity = TIM_ICPOLARITY_RISING;
  sConfig.IC1Selection = TIM_ICSELECTION_DIRECTTI;
  sConfig.IC1Prescaler = TIM_ICPSC_DIV1;
  sConfig.IC1Filter = 0;
  sConfig.IC2Polarity = TIM_ICPOLARITY_RISING;
  sConfig.IC2Selection = TIM_ICSELECTION_DIRECTTI;
  sConfig.IC2Prescaler = TIM_ICPSC_DIV1;
  sConfig.IC2Filter = 0;
  if (HAL_TIM_Encoder_Init(&htim3, &sConfig) != HAL_OK)
  {
    Error_Handler();
  }
  sMasterConfig.MasterOutputTrigger = TIM_TRGO_RESET;
  sMasterConfig.MasterSlaveMode = TIM_MASTERSLAVEMODE_DISABLE;
  if (HAL_TIMEx_MasterConfigSynchronization(&htim3, &sMasterConfig) != HAL_OK)
  {
    Error_Handler();
  }

}

static void MX_TIM4_Init(void)
{

  TIM_MasterConfigTypeDef sMasterConfig = {0};
  TIM_OC_InitTypeDef sConfigOC = {0};

  htim4.Instance = TIM4;
  htim4.Init.Prescaler = 2;
  htim4.Init.CounterMode = TIM_COUNTERMODE_UP;
  htim4.Init.Period = 999;
  htim4.Init.ClockDivision = TIM_CLOCKDIVISION_DIV1;
  htim4.Init.AutoReloadPreload = TIM_AUTORELOAD_PRELOAD_DISABLE;
  if (HAL_TIM_PWM_Init(&htim4) != HAL_OK)
  {
    Error_Handler();
  }
  sMasterConfig.MasterOutputTrigger = TIM_TRGO_RESET;
  sMasterConfig.MasterSlaveMode = TIM_MASTERSLAVEMODE_DISABLE;
  if (HAL_TIMEx_MasterConfigSynchronization(&htim4, &sMasterConfig) != HAL_OK)
  {
    Error_Handler();
  }
  sConfigOC.OCMode = TIM_OCMODE_PWM1;
  sConfigOC.Pulse = 0;
  sConfigOC.OCPolarity = TIM_OCPOLARITY_HIGH;
  sConfigOC.OCFastMode = TIM_OCFAST_DISABLE;
  if (HAL_TIM_PWM_ConfigChannel(&htim4, &sConfigOC, TIM_CHANNEL_1) != HAL_OK)
  {
    Error_Handler();
  }
  if (HAL_TIM_PWM_ConfigChannel(&htim4, &sConfigOC, TIM_CHANNEL_2) != HAL_OK)
  {
    Error_Handler();
  }
  HAL_TIM_MspPostInit(&htim4);

}

static void MX_TIM6_Init(void)
{

  TIM_MasterConfigTypeDef sMasterConfig = {0};

  htim6.Instance = TIM6;
  htim6.Init.Prescaler = 4;
  htim6.Init.CounterMode = TIM_COUNTERMODE_UP;
  htim6.Init.Period = 16799;
  htim6.Init.AutoReloadPreload = TIM_AUTORELOAD_PRELOAD_DISABLE;
  if (HAL_TIM_Base_Init(&htim6) != HAL_OK)
  {
    Error_Handler();
  }
  sMasterConfig.MasterOutputTrigger = TIM_TRGO_RESET;
  sMasterConfig.MasterSlaveMode = TIM_MASTERSLAVEMODE_DISABLE;
  if (HAL_TIMEx_MasterConfigSynchronization(&htim6, &sMasterConfig) != HAL_OK)
  {
    Error_Handler();
  }

}

static void MX_TIM10_Init(void)
{

  htim10.Instance = TIM10;
  htim10.Init.Prescaler = 4;
  htim10.Init.CounterMode = TIM_COUNTERMODE_UP;
  htim10.Init.Period = 33599;
  htim10.Init.ClockDivision = TIM_CLOCKDIVISION_DIV1;
  htim10.Init.AutoReloadPreload = TIM_AUTORELOAD_PRELOAD_DISABLE;
  if (HAL_TIM_Base_Init(&htim10) != HAL_OK)
  {
    Error_Handler();
  }

}

static void MX_TIM11_Init(void)
{

  htim11.Instance = TIM11;
  htim11.Init.Prescaler = 4;
  htim11.Init.CounterMode = TIM_COUNTERMODE_UP;
  htim11.Init.Period = 33599;
  htim11.Init.ClockDivision = TIM_CLOCKDIVISION_DIV1;
  htim11.Init.AutoReloadPreload = TIM_AUTORELOAD_PRELOAD_DISABLE;
  if (HAL_TIM_Base_Init(&htim11) != HAL_OK)
  {
    Error_Handler();
  }

}

static void MX_USART6_UART_Init(void)
{

  huart6.Instance = USART6;
  huart6.Init.BaudRate = 9600;
  huart6.Init.WordLength = UART_WORDLENGTH_8B;
  huart6.Init.StopBits = UART_STOPBITS_1;
  huart6.Init.Parity = UART_PARITY_NONE;
  huart6.Init.Mode = UART_MODE_TX_RX;
  huart6.Init.HwFlowCtl = UART_HWCONTROL_NONE;
  huart6.Init.OverSampling = UART_OVERSAMPLING_16;
  if (HAL_UART_Init(&huart6) != HAL_OK)
  {
    Error_Handler();
  }

}

static void MX_DMA_Init(void)
{

  /* DMA controller clock enable */
  __HAL_RCC_DMA2_CLK_ENABLE();

  /* DMA interrupt init */
  /* DMA2_Stream0_IRQn interrupt configuration */
  HAL_NVIC_SetPriority(DMA2_Stream0_IRQn, 0, 0);
  HAL_NVIC_EnableIRQ(DMA2_Stream0_IRQn);

}

static void MX_GPIO_Init(void)
{
  GPIO_InitTypeDef GPIO_InitStruct = {0};

  /* GPIO Ports Clock Enable */
  __HAL_RCC_GPIOC_CLK_ENABLE();
  __HAL_RCC_GPIOH_CLK_ENABLE();
  __HAL_RCC_GPIOA_CLK_ENABLE();
  __HAL_RCC_GPIOB_CLK_ENABLE();
  __HAL_RCC_GPIOD_CLK_ENABLE();

  /*Configure GPIO pin Output Level */
  HAL_GPIO_WritePin(GPIOC, DRV2_PH_Pin|LED_White_Pin|LED_B_Pin, GPIO_PIN_RESET);

  /*Configure GPIO pin Output Level */
  HAL_GPIO_WritePin(GPIOB, SPI2_nCS_Pin|LED_Red_Pin, GPIO_PIN_RESET);

  /*Configure GPIO pin Output Level */
  HAL_GPIO_WritePin(GPIOA, LED_G_Pin|LED_R_Pin, GPIO_PIN_RESET);

  /*Configure GPIO pin Output Level */
  HAL_GPIO_WritePin(DRV1_PH_GPIO_Port, DRV1_PH_Pin, GPIO_PIN_RESET);

  /*Configure GPIO pins : DRV2_PH_Pin LED_White_Pin LED_B_Pin */
  GPIO_InitStruct.Pin = DRV2_PH_Pin|LED_White_Pin|LED_B_Pin;
  GPIO_InitStruct.Mode = GPIO_MODE_OUTPUT_PP;
  GPIO_InitStruct.Pull = GPIO_NOPULL;
  GPIO_InitStruct.Speed = GPIO_SPEED_FREQ_LOW;
  HAL_GPIO_Init(GPIOC, &GPIO_InitStruct);

  /*Configure GPIO pins : SW1_Pin SW2_Pin Rotary2_Pin Rotary8_Pin
                           Rotary1_Pin */
  GPIO_InitStruct.Pin = SW1_Pin|SW2_Pin|Rotary2_Pin|Rotary8_Pin
                          |Rotary1_Pin;
  GPIO_InitStruct.Mode = GPIO_MODE_INPUT;
  GPIO_InitStruct.Pull = GPIO_NOPULL;
  HAL_GPIO_Init(GPIOC, &GPIO_InitStruct);

  /*Configure GPIO pins : SubSens1_Pin SubSens2_Pin */
  GPIO_InitStruct.Pin = SubSens1_Pin|SubSens2_Pin;
  GPIO_InitStruct.Mode = GPIO_MODE_INPUT;
  GPIO_InitStruct.Pull = GPIO_NOPULL;
  HAL_GPIO_Init(GPIOB, &GPIO_InitStruct);

  /*Configure GPIO pins : SPI2_nCS_Pin LED_Red_Pin */
  GPIO_InitStruct.Pin = SPI2_nCS_Pin|LED_Red_Pin;
  GPIO_InitStruct.Mode = GPIO_MODE_OUTPUT_PP;
  GPIO_InitStruct.Pull = GPIO_NOPULL;
  GPIO_InitStruct.Speed = GPIO_SPEED_FREQ_LOW;
  HAL_GPIO_Init(GPIOB, &GPIO_InitStruct);

  /*Configure GPIO pins : LED_G_Pin LED_R_Pin */
  GPIO_InitStruct.Pin = LED_G_Pin|LED_R_Pin;
  GPIO_InitStruct.Mode = GPIO_MODE_OUTPUT_PP;
  GPIO_InitStruct.Pull = GPIO_NOPULL;
  GPIO_InitStruct.Speed = GPIO_SPEED_FREQ_LOW;
  HAL_GPIO_Init(GPIOA, &GPIO_InitStruct);

  /*Configure GPIO pin : Rotary4_Pin */
  GPIO_InitStruct.Pin = Rotary4_Pin;
  GPIO_InitStruct.Mode = GPIO_MODE_INPUT;
  GPIO_InitStruct.Pull = GPIO_NOPULL;
  HAL_GPIO_Init(Rotary4_GPIO_Port, &GPIO_InitStruct);

  /*Configure GPIO pin : PA15 */
  GPIO_InitStruct.Pin = GPIO_PIN_15;
  GPIO_InitStruct.Mode = GPIO_MODE_AF_PP;
  GPIO_InitStruct.Pull = GPIO_NOPULL;
  GPIO_InitStruct.Speed = GPIO_SPEED_FREQ_LOW;
  GPIO_InitStruct.Alternate = GPIO_AF1_TIM2;
  HAL_GPIO_Init(GPIOA, &GPIO_InitStruct);

  /*Configure GPIO pin : DRV1_PH_Pin */
  GPIO_InitStruct.Pin = DRV1_PH_Pin;
  GPIO_InitStruct.Mode = GPIO_MODE_OUTPUT_PP;
  GPIO_InitStruct.Pull = GPIO_NOPULL;
  GPIO_InitStruct.Speed = GPIO_SPEED_FREQ_LOW;
  HAL_GPIO_Init(DRV1_PH_GPIO_Port, &GPIO_InitStruct);

}

/* USER CODE BEGIN 4 */

uint8_t rotary_read() {
	uint8_t _rotaryvalue = 0;
	_rotaryvalue += (HAL_GPIO_ReadPin(GPIOC, GPIO_PIN_12)) ? 0 : 1;	// Rotary1
	_rotaryvalue += (HAL_GPIO_ReadPin(GPIOC, GPIO_PIN_10)) ? 0 : 1;	// Rotary2
	_rotaryvalue += (HAL_GPIO_ReadPin(GPIOA, GPIO_PIN_12)) ? 0 : 1;	// Rotary4
	_rotaryvalue += (HAL_GPIO_ReadPin(GPIOC, GPIO_PIN_11)) ? 0 : 1;	// Rotary8
	return _rotaryvalue;
}

#if USE_LED
void led_rgb(char r, char g, char b) {
	HAL_GPIO_WritePin(GPIOA, GPIO_PIN_11, (r) ? GPIO_PIN_RESET : GPIO_PIN_SET);	// LED_R ON
	HAL_GPIO_WritePin(GPIOA, GPIO_PIN_10, (g) ? GPIO_PIN_RESET : GPIO_PIN_SET);	// LED_G ON
	HAL_GPIO_WritePin(GPIOC, GPIO_PIN_9, (b) ? GPIO_PIN_RESET : GPIO_PIN_SET);// LED_B ON
}

void set_led(char value)
{
	HAL_GPIO_WritePin(GPIOC, GPIO_PIN_8, (value & 0b01) ? GPIO_PIN_RESET : GPIO_PIN_SET);	// RIGHT
	HAL_GPIO_WritePin(GPIOB, GPIO_PIN_13, (value & 0b10) ? GPIO_PIN_RESET : GPIO_PIN_SET);	// LEFT
}
#endif

void sensor_initialize() {
	sensgettime = 0;
	if (HAL_ADC_Start_DMA(&hadc1, (uint32_t*) analograw,
	ADC_CONVERTED_DATA_BUFFER_SIZE) != HAL_OK) {
		Error_Handler();
	}
	HAL_Delay(1000);
}

void sensor_finalize() {
	HAL_ADC_Stop_DMA(&hadc1);
}

void running_initialize() {
	sensor_initialize();
#if USE_VELOCITY_CONTROL
#if D_VELOCITY_CONTROL_TIMER
	stoptime = 0;
#endif
	encoder_initialize();
#endif
	timtim = 0;
	printf("Encoder_Start\r\n");
	HAL_TIM_Encoder_Start(&htim1, TIM_CHANNEL_ALL);
	HAL_TIM_Encoder_Start(&htim3, TIM_CHANNEL_ALL);
	subsensbuf = 0;
	marker = 0;
	sidedeltacount = 0;
	markerstate = 0;
	rightmarkercount = 0;
#if USE_FLASH
	course_state_time = 0;
#endif
	printf("SIDESENSOR ENCODER\r\n");
	HAL_TIM_Base_Start_IT(&htim10);
	leftmotor = 0;
	rightmotor = 0;
	beforedirection = 0;
	sdirection = 0;
	printf("PWM_Start\r\n");
	HAL_TIM_PWM_Start(&htim4, TIM_CHANNEL_1);	// 50kHz (0.02ms)
	HAL_TIM_PWM_Start(&htim4, TIM_CHANNEL_2);
	printf("PID\r\n");
	HAL_TIM_Base_Start_IT(&htim6);	// PID
#if PLAY
	motorenable = 1;
#endif
}

void running_finalize() {
	motorenable = 0;
	sensor_finalize();
	HAL_TIM_Base_Stop_IT(&htim6);
	HAL_TIM_PWM_Stop(&htim4, TIM_CHANNEL_2);
	HAL_TIM_PWM_Stop(&htim4, TIM_CHANNEL_1);
	encoder_finalize();
	HAL_TIM_Base_Stop_IT(&htim10);
}

void d_print() {
	printf("////////// d_print //////////\r\n");

#if D_ANALOG || D_ANALOGRATE
#if CALIBRATIONSIZE != 16
#if (CALIBRATIONSIZE == 4)
	printf(ESC_DEF);
#endif
#if CALIBRATIONSIZE == 12
	printf(ESC_RED);
#endif
#else
	printf(ESC_DEF);
#endif

#if !D_ANALOGRATE
	// only use normal sensor
	printf("\x1b[23C");	// Cursor move right *24
	printf("%4d, %4d | %4d, %4d\r\n", analog[12], analog[14], analog[15],
			analog[13]);
#else
	printf("\x1b[23C");	// Cursor move right *24
	printf("%4d, %4d | %4d, %4d\r\n", analograte[12], analograte[14], analograte[15],
			analograte[13]);
#endif	// D_ANALOGRATE

#if CALIBRATIONSIZE == 4
	printf(ESC_RED);
#endif
#if (CALIBRATIONSIZE == 12)
	printf(ESC_DEF);
#endif

#if !D_ANALOGRATE
	printf("%4d, %4d, %4d, %4d, %4d, %4d | %4d, %4d, %4d, %4d, %4d, %4d\r\n",
			analog[0], analog[2], analog[4], analog[6], analog[8], analog[10],
			analog[11], analog[9], analog[7], analog[5], analog[3],
			analog[1]);
#else
	printf("%4d, %4d, %4d, %4d, %4d, %4d | %4d, %4d, %4d, %4d, %4d, %4d\r\n",
			analograte[0], analograte[2], analograte[4], analograte[6], analograte[8], analograte[10],
			analograte[11], analograte[9], analograte[7], analograte[5], analograte[3],
			analograte[1]);
#endif	// D_ANALOGRATE
	printf("\r\n");

#endif	// D_ANALOG

#if D_ENCODER
/*
	printf("encoder_l = %d, encoder_r = %d \r\ndvl = %d, dvr = %d\r\n",
			encoder_l, encoder_r, dvl, dvr);
	printf("lengthl = %d, lengthr = %d \r\nvelocityl = %d, velocityr = %d\r\n",
			lengthl, lengthr, velocityl, velocityr);
*/
	printf("TIM1->CNT = %5d, TIM3->CNT = %5d\r\nencoder_l = %5d, encoder_r = %5d\r\n", TIM1->CNT, TIM3->CNT, encoder_l, encoder_r);
#endif

#if D_PWM
	printf("pwmstepoutput = %5d, pwmsteptime = %5d, pwmstepud = %d\r\n", pwmstepoutput, pwmsteptime, pwmstepud);
#endif

#if D_ROTARY
	printf("rotary_value = %x\r\n", rotary_value);
#endif

#if D_SWITCH
	printf("enter = %d\r\n", enter);
#endif

#if D_IMU
#endif

#if D_VELOCITY_CONTROL
#if !VELOCITY_CONTROL_RELATIVE
	printf("velocity_error = %5.3f, s_velocity_error = %5.3f\r\n",
			velocity_error_l, s_velocity_error_l);
	printf("velocity_next = %5.3f\r\n", velocity_next_l);
	printf("nextspeed = %5.3f\r\n", nextspeed_l);
	printf("leftmotor = %5.3f, rightmotor = %5.3f\r\n", leftmotor, rightmotor);
#else
//	printf("LENGTHPERPULSE = %5.3f\r\n", LENGTHPERPULSE);
	printf("encoder = %3.1f\r\nLENGTHPERPULSE = %f\r\nvelocity = %5.3f\r\nvelocity_error = %5.3f, s_velocity_error = %5.3f\r\nvelocity_next = %5.3f\r\nnextspeed = %5.3f\r\n",
			(encoder_l + encoder_r) / (double)2.0f, LENGTHPERPULSE, (velocity_l + velocity_r) / (double)2.0f, velocity_error, s_velocity_error, velocity_next, nextspeed);
#endif	// VELOCITY_CONTROL_RELARIVE
#endif	// D_VELOCITY_CONTROL

#if D_MOTOR
	printf("leftmotor = %5.3f, rightmotor = %5.3f\r\n", leftmotor, rightmotor);
#endif
}	// d_print

#if USE_IMU
void IMU_printf(Inertial *a) {
	printf("%4d, %4d, %4d, ", a->accel.x, a->accel.y, a->accel.z);
	printf("%4d, %4d, %4d\r\n", a->gyro.x, a->gyro.y, a->gyro.z);
}

void IMU_raw_printf() {
	printf("%4d, %4d, %4d, ", inertial.accel.x, inertial.accel.y,
			inertial.accel.z);
	printf("%4d, %4d, %4d\r\n", inertial.gyro.x, inertial.gyro.y,
			inertial.gyro.z);
}
#endif

void encoder_initialize() {
#if USE_VELOCITY_CONTROL
#if VELOCITY_CONTROL_RELATIVE
	s_velocity_error = 0;
#else
	s_velocity_error_l = 0;
	s_velocity_error_r = 0;
#endif
#endif

	TIM1->CNT = ENCODER_MIDDLE;
	TIM3->CNT = ENCODER_MIDDLE;

	HAL_TIM_Encoder_Start(&htim1, TIM_CHANNEL_ALL);
	HAL_TIM_Encoder_Start(&htim3, TIM_CHANNEL_ALL);
}

void encoder_finalize() {
	HAL_TIM_Encoder_Stop(&htim1, TIM_CHANNEL_ALL);
	HAL_TIM_Encoder_Stop(&htim3, TIM_CHANNEL_ALL);
}

PUTCHAR_PROTOTYPE {
	HAL_UART_Transmit(&huart6, (uint8_t*) &ch, 1, 0xFFFF);
	return ch;
}

double low_pass_filter(double val, double pre_val, double gamma) {
	return (double)(gamma * (double)pre_val + (double)(1 - gamma) * (double)val);
}

void HAL_ADC_ConvCpltCallback(ADC_HandleTypeDef *AdcHandle) {
	// sort
	if (sensgettime >= SENSGETCOUNT) {
		sensgettime = 0;
		for (unsigned char index = 0; index < CALIBRATIONSIZE; index++) {
			for (unsigned char count = 0; count < SENSGETCOUNT; count++) {
				for (unsigned char alphaindex = 0; alphaindex > count;
						alphaindex--) {
					uint16_t analogbuffer = analogbuffers[alphaindex - 1][index];
					analogbuffers[alphaindex - 1][index] =
							analogbuffers[alphaindex][index];
					analogbuffers[alphaindex][index] = analogbuffer;
				}
			}
			analog[index] = analogbuffers[(int) SENSGETCOUNT / 2][index];
			// get maxvalue and minimumvalue
			uint16_t analogbuf;
			analogbuf = analog[index];
			analogmax[index] =
					(analogmax[index] < analogbuf) ?
							analogbuf : analogmax[index];
			analogmin[index] =
					(analogmin[index] > analogbuf) ?
							analogbuf : analogmin[index];
		}
	}
	// sensorget
	for (unsigned char index = 0; CALIBRATIONSIZE > index; index++) {
		analogbuffers[sensgettime][index] = analograw[index];
	}
	sensgettime++;
}

#ifndef _ARM_MATH_H
double power(double a, double b) {
	double r;
	r = 1;
	for (int i = b; i > 0; i--) {
		//	r = r * a;
	}

	return r;
}
#endif

#if USE_FLASH
void eraseFlash(void) {
	FLASH_EraseInitTypeDef erase;
	erase.TypeErase = FLASH_TYPEERASE_SECTORS;
	erase.Sector = FLASH_SECTOR_11;
	erase.NbSectors = 1;
	erase.VoltageRange = FLASH_VOLTAGE_RANGE_3;
	uint32_t pageError = 0;

	HAL_FLASHEx_Erase(&erase, &pageError);
}

void writeFlash(uint32_t address, uint8_t *data, uint32_t size) {
	HAL_FLASH_Unlock();
	eraseFlash();

	for (uint32_t add = address; add < (address + size); add++) {
		HAL_FLASH_Program(FLASH_TYPEPROGRAM_BYTE, add, *data);
		data++;
	}

	HAL_FLASH_Lock();
}

void loadFlash(uint32_t address, uint8_t *data, uint32_t size) {
	memcpy(data, (uint64_t*) address, size);
}
#endif
/* USER CODE END 4 */

void Error_Handler(void)
{
	__disable_irq();
	while (1) {
	}
}

/************************ (C) COPYRIGHT STMicroelectronics *****END OF FILE****/
